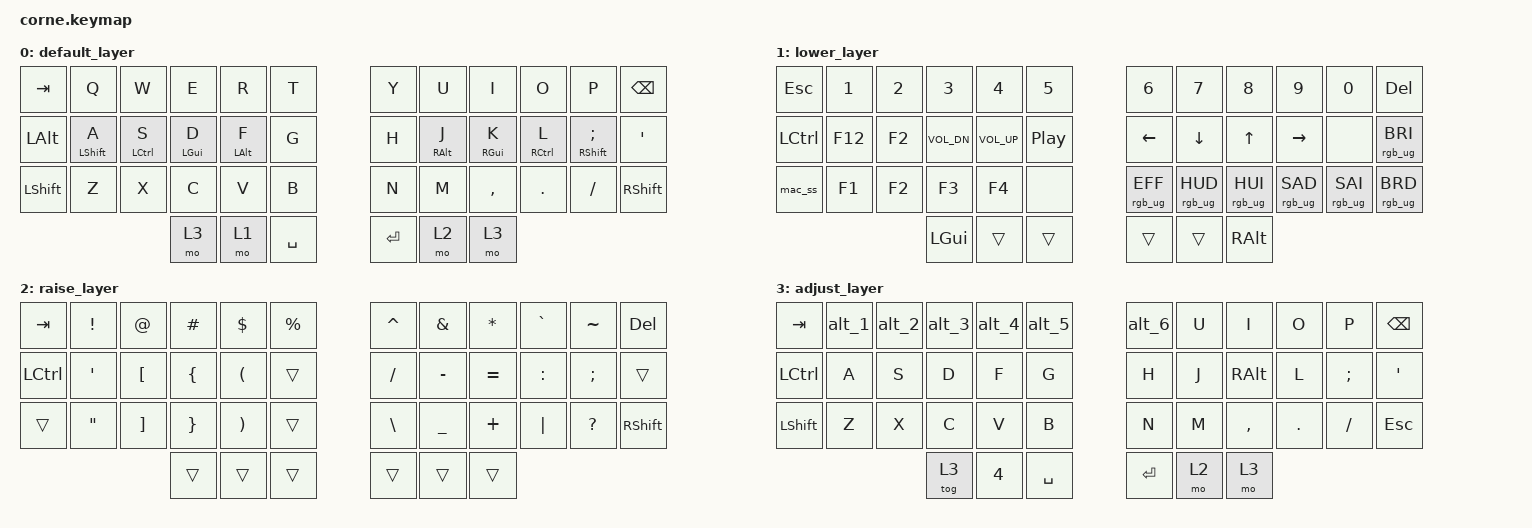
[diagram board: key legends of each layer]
/*
 * Corne Wireless ZMK Keymap
 * Converted from Unicorne VIA layout
 *
 * Layer 0: Default (QWERTY + home row mods)
 * Layer 1: Lower (numbers, F-keys, arrows, media)
 * Layer 2: Raise (symbols)
 * Layer 3: Adjust (macros / gaming-ish layer)
 */

#include <behaviors.dtsi>
#include <dt-bindings/zmk/keys.h>
#include <dt-bindings/zmk/bt.h>
#include <dt-bindings/zmk/rgb.h>

/ {
    macros {
        mac_ss: mac_ss {
            compatible = "zmk,behavior-macro";
            #binding-cells = <0>;
            bindings = <&kp LG(LS(N4))>;
        };
        alt_1: alt_1 {
            compatible = "zmk,behavior-macro";
            #binding-cells = <0>;
            bindings = <&kp LA(N1)>;
        };
        alt_2: alt_2 {
            compatible = "zmk,behavior-macro";
            #binding-cells = <0>;
            bindings = <&kp LA(N2)>;
        };
        alt_3: alt_3 {
            compatible = "zmk,behavior-macro";
            #binding-cells = <0>;
            bindings = <&kp LA(N3)>;
        };
        alt_4: alt_4 {
            compatible = "zmk,behavior-macro";
            #binding-cells = <0>;
            bindings = <&kp LA(N4)>;
        };
        alt_5: alt_5 {
            compatible = "zmk,behavior-macro";
            #binding-cells = <0>;
            bindings = <&kp LA(N5)>;
        };
        alt_6: alt_6 {
            compatible = "zmk,behavior-macro";
            #binding-cells = <0>;
            bindings = <&kp LA(N6)>;
        };
    };

    behaviors {
        mt: mod_tap {
            compatible = "zmk,behavior-hold-tap";
            #binding-cells = <2>;
            flavor = "balanced";
            tapping-term-ms = <200>;
            quick-tap-ms = <150>;
            require-prior-idle-ms = <125>;
            bindings = <&kp>, <&kp>;
        };
    };

    keymap {
        compatible = "zmk,keymap";

        default_layer {
            bindings = <
                &kp TAB    &kp Q       &kp W       &kp E       &kp R       &kp T           &kp Y   &kp U       &kp I       &kp O       &kp P          &kp BSPC
                &kp LALT   &mt LSHFT A &mt LCTRL S &mt LGUI D  &mt LALT F  &kp G           &kp H   &mt RALT J  &mt RGUI K  &mt RCTRL L &mt RSHFT SEMI &kp SQT
                &kp LSHFT  &kp Z       &kp X       &kp C       &kp V       &kp B           &kp N   &kp M       &kp COMMA   &kp DOT     &kp FSLH       &kp RSHFT
                                                    &mo 3       &mo 1       &kp SPACE       &kp RET &mo 2       &mo 3
            >;
        };

        lower_layer {
            bindings = <
                &kp ESC     &kp N1  &kp N2  &kp N3       &kp N4       &kp N5              &kp N6          &kp N7          &kp N8          &kp N9          &kp N0          &kp DEL
                &kp LCTRL   &kp F12 &kp F2  &kp C_VOL_DN &kp C_VOL_UP &kp C_PP            &kp LEFT        &kp DOWN        &kp UP          &kp RIGHT       &none           &rgb_ug RGB_BRI
                &mac_ss     &kp F1  &kp F2  &kp F3       &kp F4       &none               &rgb_ug RGB_EFF &rgb_ug RGB_HUD &rgb_ug RGB_HUI &rgb_ug RGB_SAD &rgb_ug RGB_SAI &rgb_ug RGB_BRD
                                            &kp LGUI     &trans       &trans              &trans          &trans          &kp RALT
            >;
        };

        raise_layer {
            bindings = <
                &kp TAB    &kp EXCL  &kp AT    &kp HASH  &kp DLLR  &kp PRCNT       &kp CARET &kp AMPS  &kp ASTRK &kp GRAVE &kp TILDE &kp DEL
                &kp LCTRL  &kp SQT   &kp LBKT  &kp LBRC  &kp LPAR  &trans          &kp FSLH  &kp MINUS &kp EQUAL &kp COLON &kp SEMI  &trans
                &trans     &kp DQT   &kp RBKT  &kp RBRC  &kp RPAR  &trans          &kp BSLH  &kp UNDER &kp PLUS  &kp PIPE  &kp QMARK &kp RSHFT
                                               &trans    &trans    &trans          &trans    &trans    &trans
            >;
        };

        adjust_layer {
            bindings = <
                &kp TAB    &alt_1  &alt_2  &alt_3  &alt_4  &alt_5          &alt_6  &kp U   &kp I     &kp O   &kp P     &kp BSPC
                &kp LCTRL  &kp A   &kp S   &kp D   &kp F   &kp G           &kp H   &kp J   &kp RALT  &kp L   &kp SEMI  &kp SQT
                &kp LSHFT  &kp Z   &kp X   &kp C   &kp V   &kp B           &kp N   &kp M   &kp COMMA &kp DOT &kp FSLH  &kp ESC
                                           &tog 3  &kp N4  &kp SPACE       &kp RET &mo 2   &mo 3
            >;
        };
    };
};
